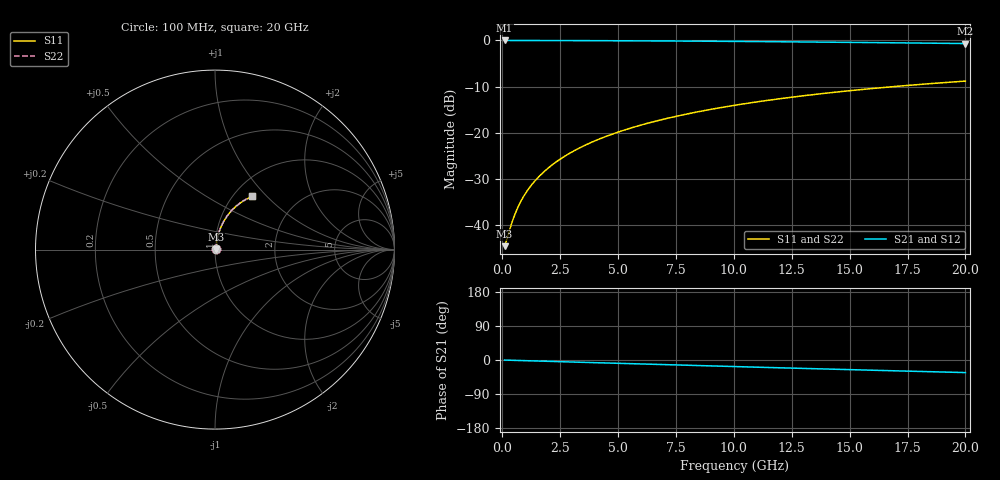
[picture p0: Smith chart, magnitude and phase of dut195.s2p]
! Touchstone file exported from HFSS 2026.1.0
!  File:  C:/ffzhzh/LocalFiles/Ansys_Project_Files/temp_train_TMRDL_195_1782983881_42984.aedt
!  Generated:  05:19:13 PM Jul  2, 2026
!  Design:  TMRDL
!  Project:  temp_train_TMRDL_195_1782983881_42984
! Variables:
!  h_bsmrdl = 2um
!  h_ox = 20um
!  h_rdl = 5um
!  h_sub = 80um
!  h_tmrdl = 2.02um
!  h_tsv = 80um
!  h_via = 3um
!  l_bsmrdl = 300um
!  l_sub = 833.9um
!  l_tmrdl = 433.9um
!  m_sub = 200um
!  pitch = 39.54um
!  r_tsv = 6um
!  s_tmrdl = 10um
!  w_bsmrdl = 18um
!  w_sub = 500um
!  w_tmrdl = 14.24um
!  x_tsv_center1 = 441.02um
!  x_tsv_center2 = 759.02um
!  x_tsv_center3 = 1207.16um
!  x_tsv_center4 = 1525.16um
!  x_tsv_center5 = 1973.3um
!  x_tsv_center6 = 2291.3um
# GHz S MA R 50.000000
! Terminal data exported
! Port[1] = TM_RDL1_1_T1
! Port[2] = TM_RDL1_1_T2
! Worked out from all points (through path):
!   200 points, 100 MHz to 20 GHz, reference 50 ohm
!   highest |S21| = -0.05 dB at 100 MHz (marker M1); lowest = -0.7 dB at 20 GHz (marker M2)
!   group delay of S21, straight-line fit = 4.62 ps
!   lowest |S11| = -44.5 dB at 100 MHz (marker M3), VSWR 1.01, Z = 50.6 + j0.221 ohm
!   |S11| at or under -10 dB: start of sweep to 16.94 GHz
!   |S22| runs from -44.5 to -8.8 dB; largest |S21 - S12| = 2.7e-15
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0.1  0.005968 21.4  0.9944 -0.2  0.9944 -0.2  0.005968 21.4
! Gamma 0 0 0 0
! Port Impedance 50 0 50 0
0.2  0.00711 37.8  0.9944 -0.4  0.9944 -0.4  0.007109 37.8
0.4  0.01044 55.9  0.9942 -0.7  0.9942 -0.7  0.01044 55.9
0.6  0.01425 64.2  0.994 -1.1  0.994 -1.1  0.01425 64.2
0.7  0.01621 66.8  0.9938 -1.3  0.9938 -1.3  0.01621 66.8
0.9  0.02016 70.3  0.9936 -1.6  0.9936 -1.6  0.02015 70.3
1.2  0.02609 73.5  0.9932 -2.2  0.9932 -2.2  0.02609 73.5
1.4  0.03006 74.8  0.993 -2.5  0.993 -2.5  0.03005 74.8
1.7  0.03602 76.2  0.9927 -3.0  0.9927 -3.0  0.03601 76.2
2.2  0.04598 77.5  0.9921 -3.9  0.9921 -3.9  0.04597 77.5
2.8  0.05796 78.1  0.9913 -4.9  0.9913 -4.9  0.05796 78.1
3.5  0.07195 78.1  0.9903 -6.2  0.9903 -6.2  0.07195 78.1
4.2  0.08591 77.7  0.989 -7.4  0.989 -7.4  0.08591 77.8
5  0.1018 77.0  0.9874 -8.8  0.9874 -8.8  0.1018 77.1
5.9  0.1195 76.0  0.9852 -10.3  0.9852 -10.3  0.1195 76.0
6.8  0.1371 74.8  0.9827 -11.9  0.9827 -11.9  0.1371 74.9
8.3  0.1659 72.7  0.978 -14.4  0.978 -14.4  0.1659 72.8
10.1  0.1995 70.0  0.9713 -17.5  0.9713 -17.5  0.1995 70.1
11.7  0.2285 67.5  0.9645 -20.1  0.9645 -20.1  0.2285 67.7
13.4  0.2582 64.9  0.9566 -22.9  0.9566 -22.9  0.2582 65.1
16.7  0.3125 59.8  0.9395 -28.1  0.9395 -28.1  0.3124 60.1
20  0.362 54.9  0.921 -33.2  0.921 -33.2  0.3619 55.2
